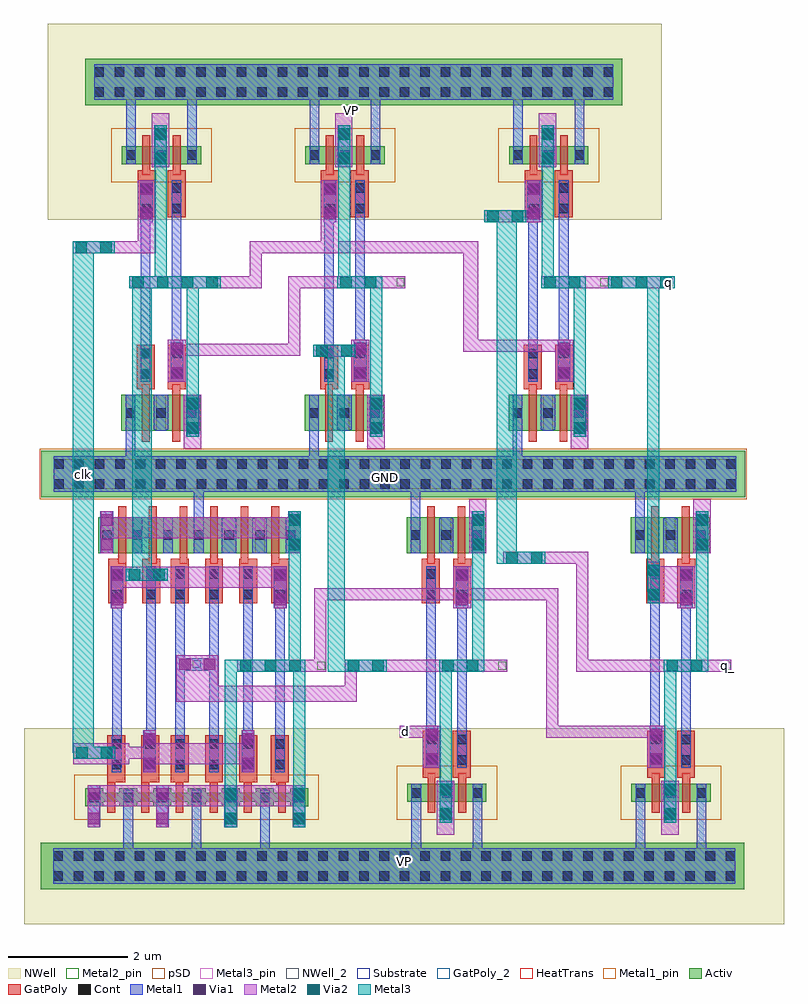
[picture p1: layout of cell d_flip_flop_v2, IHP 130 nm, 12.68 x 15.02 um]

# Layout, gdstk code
from math import pi, radians
import gdstk
lib = gdstk.Library(unit=1e-6, precision=1e-09)
def R(c, l, rs):  # rectangles x0, y0, x1, y1
    for r in rs: c.add(gdstk.rectangle(r[:2], r[2:], *l))
def A(c, l, x, y, w, h, nx, ny, dx, dy):  # array of equal rectangles
    R(c, l, [(x+i*dx, y+j*dy, x+i*dx+w, y+j*dy+h) for i in range(nx) for j in range(ny)])
Activ = (1, 0)
GatPoly = (5, 0)
GatPoly_2 = (5, 2)
Cont = (6, 0)
Metal1 = (8, 0)
Metal1_pin = (8, 2)
Metal2 = (10, 0)
Metal2_pin = (10, 2)
pSD = (14, 0)
Via1 = (19, 0)
Via2 = (29, 0)
Metal3 = (30, 0)
Metal3_pin = (30, 2)
NWell = (31, 0)
NWell_2 = (31, 2)
Substrate = (40, 0)
HeatTrans = (51, 0)

via = lib.new_cell('Via')
R(via, Metal2, [(-0.35,-0.1,0.35,0.1)])
R(via, Via2, [(-0.3,-0.095,-0.11,0.095), (0.11,-0.095,0.3,0.095)])
R(via, Metal3, [(-0.35,-0.1,0.35,0.1)])

ntap1_7 = lib.new_cell('ntap1$7')
R(ntap1_7, Activ, [(0,0,2.5,0.78)])
A(ntap1_7, Cont, 0.15, 0.14, 0.16, 0.16, 7, 2, 0.34, 0.34)
R(ntap1_7, Metal1, [(0.15,0.09,2.35,0.69)])
R(ntap1_7, Metal1_pin, [(0.15,0.09,2.35,0.69), (0.15,0.14,2.35,0.64)])
R(ntap1_7, NWell, [(-0.24,-0.24,2.74,1.02), (0,0,2.5,0.78)])
R(ntap1_7, NWell_2, [(0,0,2.5,0.78)])
ntap1_7.add(gdstk.Label('well', (1.25,0.01), layer=63, texttype=0))
ntap1_7.add(gdstk.Label('well', (1.25,0.01), layer=31, texttype=0))

ptap1_4 = lib.new_cell('ptap1$4')
R(ptap1_4, Activ, [(0,0,2.5,0.78)])
A(ptap1_4, Cont, 0.15, 0.14, 0.16, 0.16, 7, 2, 0.34, 0.34)
R(ptap1_4, Metal1, [(0.15,0.09,2.35,0.69), (0.15,0.14,2.35,0.64)])
R(ptap1_4, Metal1_pin, [(0.15,0.14,2.35,0.64)])
R(ptap1_4, pSD, [(-0.03,-0.03,2.53,0.81)])
R(ptap1_4, Substrate, [(0,0,2.5,0.78)])
ptap1_4.add(gdstk.Label('sub!', (1.25,0.01), layer=63, texttype=0))
ptap1_4.add(gdstk.Label('sub!', (1.25,0.01), layer=40, texttype=0))

via_15 = lib.new_cell('Via$15')
R(via_15, Metal2, [(-0.1,-0.35,0.1,0.35)])
R(via_15, Via2, [(-0.095,-0.3,0.095,-0.11), (-0.095,0.11,0.095,0.3)])
R(via_15, Metal3, [(-0.1,-0.35,0.1,0.35)])

via_1_1 = lib.new_cell('Via$1$1')
R(via_1_1, Metal1, [(-0.105,-0.35,0.105,0.35)])
R(via_1_1, Metal2, [(-0.1,-0.35,0.1,0.35)])
R(via_1_1, Via1, [(-0.095,-0.3,0.095,-0.11), (-0.095,0.11,0.095,0.3)])

via_2_1 = lib.new_cell('Via$2$1')
R(via_2_1, GatPoly, [(-0.32,-0.15,0.32,0.15)])
R(via_2_1, Cont, [(-0.25,-0.08,-0.09,0.08), (0.09,-0.08,0.25,0.08)])
R(via_2_1, Metal1, [(-0.3,-0.08,0.3,0.08)])

pmos_5 = lib.new_cell('pmos$5')
A(pmos_5, Activ, 0, 0, 0.3, 0.3, 3, 1, 0.51, 0)
R(pmos_5, Activ, [(0,0,1.32,0.3)])
R(pmos_5, GatPoly, [(0.34,-0.18,0.47,0.48), (0.34,-0.18,0.47,0.48), (0.85,-0.18,0.98,0.48)])
A(pmos_5, Cont, 0.07, 0.07, 0.16, 0.16, 3, 1, 0.51, 0)
R(pmos_5, Metal1, [(0.07,0,0.23,0.3), (0.07,0,0.23,0.3), (0.58,0,0.74,0.3), (0.58,0,0.74,0.3), (1.09,0,1.25,0.3)])
R(pmos_5, pSD, [(-0.18,-0.3,1.5,0.6)])
R(pmos_5, NWell, [(-0.31,-0.31,1.63,0.61)])
R(pmos_5, HeatTrans, [(0.34,-0.18,0.47,0.48), (0.85,-0.18,0.98,0.48)])
pmos_5.add(gdstk.Label('pmos', (0.405,0.15), layer=63, texttype=0))
pmos_5.add(gdstk.Label('pmos', (0.405,0.15), layer=51, texttype=0))
pmos_5.add(gdstk.Label('pmos', (0.915,0.15), layer=51, texttype=0))

nmos_5 = lib.new_cell('nmos$5')
A(nmos_5, Activ, 0, 0, 0.3, 0.3, 3, 1, 0.51, 0)
R(nmos_5, Activ, [(0,0,1.32,0.6)])
R(nmos_5, GatPoly, [(0.34,-0.18,0.47,0.78), (0.85,-0.18,0.98,0.78)])
R(nmos_5, GatPoly_2, [(0.34,-0.18,0.47,0.78)])
A(nmos_5, Cont, 0.07, 0.22, 0.16, 0.16, 3, 1, 0.51, 0)
A(nmos_5, Metal1, 0.07, 0, 0.16, 0.6, 3, 1, 0.51, 0)
R(nmos_5, Metal1_pin, [(0.07,0,0.23,0.6), (0.58,0,0.74,0.6)])
R(nmos_5, HeatTrans, [(0.34,-0.18,0.47,0.78), (0.85,-0.18,0.98,0.78)])
nmos_5.add(gdstk.Label('nmos', (0.405,0.3), layer=63, texttype=0))
nmos_5.add(gdstk.Label('nmos', (0.405,0.3), layer=51, texttype=0))
nmos_5.add(gdstk.Label('nmos', (0.915,0.3), layer=51, texttype=0))

nand_2in_nmosx2_3 = lib.new_cell('NAND_2in_nmosx2$3')
R(nand_2in_nmosx2_3, GatPoly, [(0.63,-2.93,0.93,-2.82), (1.15,-2.93,1.45,-2.82), (0.645,0.58,0.945,0.73), (1.145,0.58,1.445,0.73), (0.725,0.68,0.855,0.77)])
R(nand_2in_nmosx2_3, Metal1, [(0.445,-4.32,0.605,-3.295), (0.915,-3.6,1.155,-3.34), (0.915,-3.36,1.155,-3.02), (0.7,-2.68,0.86,0.26), (1.215,-2.21,1.375,-1.27), (1.215,-1.31,1.375,-0.37), (1.215,-0.37,1.375,-0.01), (0.455,1.01,0.615,1.15), (0.455,1.115,0.615,1.99), (1.475,1.115,1.635,1.94)])
R(nand_2in_nmosx2_3, Metal1_pin, [(0.44,-4.32,0.57,-4.19), (0.4,2.15,0.53,2.28)])
R(nand_2in_nmosx2_3, Metal2, [(1.415,-3.92,1.705,-3.72), (1.415,-3.72,1.705,-3.02), (1.15,-2.8,1.45,-2.1), (1.62,-1.24,2.05,-1.04), (0.645,-0.14,0.945,0.56), (0.88,0.78,1.17,0.98), (0.88,0.98,1.17,1.68)])
R(nand_2in_nmosx2_3, Metal2_pin, [(1.24,-2.27,1.37,-2.14), (1.905,-1.205,2.035,-1.075), (0.735,-0.1,0.865,0.03)])
R(nand_2in_nmosx2_3, Metal3, [(1.465,-3.03,1.665,-2.83), (1.465,-2.905,1.665,-1.045), (0.93,-1.09,1.13,0.17), (0.93,0.1,1.13,0.62), (0.93,0.62,1.13,0.72), (0.93,0.71,1.13,0.87)])
R(nand_2in_nmosx2_3, NWell, [(-0.85,-0.1,2.93,3.17)])
nand_2in_nmosx2_3.add(gdstk.Reference(ntap1_7, (-0.23,1.81)))
nand_2in_nmosx2_3.add(gdstk.Reference(ptap1_4, (-0.22,-4.73)))
nand_2in_nmosx2_3.add(gdstk.Reference(via_15, (1.27,-1.14), rotation=3*pi/2))
nand_2in_nmosx2_3.add(gdstk.Reference(via_1_1, (1.565,-3.37), rotation=pi))
nand_2in_nmosx2_3.add(gdstk.Reference(via_1_1, (1.3,-2.45), rotation=pi))
nand_2in_nmosx2_3.add(gdstk.Reference(via_1_1, (0.795,0.21), rotation=pi))
nand_2in_nmosx2_3.add(gdstk.Reference(via_1_1, (1.03,1.13), rotation=pi))
nand_2in_nmosx2_3.add(gdstk.Reference(via_2_1, (1.3,-2.5), rotation=3*pi/2))
nand_2in_nmosx2_3.add(gdstk.Reference(via_2_1, (0.795,0.26), rotation=3*pi/2))
nand_2in_nmosx2_3.add(gdstk.Reference(via_2_1, (1.295,0.26), rotation=3*pi/2))
nand_2in_nmosx2_3.add(gdstk.Reference(via_15, (1.565,-3.37), rotation=pi))
nand_2in_nmosx2_3.add(gdstk.Reference(via_15, (1.03,1.13), rotation=pi))
nand_2in_nmosx2_3.add(gdstk.Reference(pmos_5, (1.705,1.13), rotation=pi))
nand_2in_nmosx2_3.add(gdstk.Reference(via_2_1, (0.78,-2.5), rotation=3*pi/2))
nand_2in_nmosx2_3.add(gdstk.Reference(nmos_5, (1.695,-3.02), rotation=pi))
nand_2in_nmosx2_3.add(gdstk.Label('GND', (0.505,-4.25), layer=8, texttype=25))
nand_2in_nmosx2_3.add(gdstk.Label('VP', (0.46,2.21), layer=8, texttype=25))
nand_2in_nmosx2_3.add(gdstk.Label('b', (0.795,-0.04), layer=10, texttype=25))
nand_2in_nmosx2_3.add(gdstk.Label('a', (1.3,-2.21), layer=10, texttype=25))
nand_2in_nmosx2_3.add(gdstk.Label('y', (1.97,-1.14), layer=10, texttype=25))

ntap1_3 = lib.new_cell('ntap1$3')
R(ntap1_3, Activ, [(0,0,1.8,0.78)])
A(ntap1_3, Cont, 0.14, 0.14, 0.16, 0.16, 5, 2, 0.34, 0.34)
R(ntap1_3, Metal1, [(0.14,0.09,1.66,0.69)])
R(ntap1_3, Metal1_pin, [(0.14,0.09,1.66,0.69), (0.14,0.14,1.66,0.64)])
R(ntap1_3, NWell, [(-0.24,-0.24,2.04,1.02), (0,0,1.8,0.78)])
R(ntap1_3, NWell_2, [(0,0,1.8,0.78)])
ntap1_3.add(gdstk.Label('well', (0.9,0.01), layer=63, texttype=0))
ntap1_3.add(gdstk.Label('well', (0.9,0.01), layer=31, texttype=0))

via_12 = lib.new_cell('Via$12')
R(via_12, Metal2, [(-0.555,-0.1,0.555,0.1)])
A(via_12, Via2, -0.505, -0.095, 0.19, 0.19, 3, 1, 0.41, 0)
R(via_12, Metal3, [(-0.555,-0.1,0.555,0.1)])

via_8 = lib.new_cell('Via$8')
R(via_8, Metal2, [(-0.1,-0.35,0.1,0.35)])
R(via_8, Via2, [(-0.095,-0.3,0.095,-0.11), (-0.095,0.11,0.095,0.3)])
R(via_8, Metal3, [(-0.1,-0.35,0.1,0.35)])

via_13 = lib.new_cell('Via$13')
R(via_13, Metal2, [(-0.76,-0.1,0.76,0.1)])
A(via_13, Via2, -0.71, -0.095, 0.19, 0.19, 4, 1, 0.41, 0)
R(via_13, Metal3, [(-0.76,-0.1,0.76,0.1)])

ntap1 = lib.new_cell('ntap1')
R(ntap1, Activ, [(0,0,2.1,0.78)])
A(ntap1, Cont, 0.12, 0.14, 0.16, 0.16, 6, 2, 0.34, 0.34)
R(ntap1, Metal1, [(0.12,0.09,1.98,0.69)])
R(ntap1, Metal1_pin, [(0.12,0.09,1.98,0.69), (0.12,0.14,1.98,0.64)])
R(ntap1, NWell, [(-0.24,-0.24,2.34,1.02), (0,0,2.1,0.78)])
R(ntap1, NWell_2, [(0,0,2.1,0.78)])
ntap1.add(gdstk.Label('well', (1.05,0.01), layer=63, texttype=0))
ntap1.add(gdstk.Label('well', (1.05,0.01), layer=31, texttype=0))

via_16 = lib.new_cell('Via$16')
R(via_16, Metal1, [(-0.105,-0.35,0.105,0.35)])
R(via_16, Metal2, [(-0.1,-0.35,0.1,0.35)])
R(via_16, Via1, [(-0.095,-0.3,0.095,-0.11), (-0.095,0.11,0.095,0.3)])

via_1_2 = lib.new_cell('Via$1$2')
R(via_1_2, Metal2, [(-0.1,-0.555,0.1,0.555)])
A(via_1_2, Via2, -0.095, -0.505, 0.19, 0.19, 1, 3, 0, 0.41)
R(via_1_2, Metal3, [(-0.1,-0.555,0.1,0.555)])

nmos = lib.new_cell('nmos')
A(nmos, Activ, 0, 0, 0.3, 0.3, 7, 1, 0.51, 0)
R(nmos, Activ, [(0,0,3.36,0.6)])
A(nmos, GatPoly, 0.34, -0.18, 0.13, 0.96, 6, 1, 0.51, 0)
R(nmos, GatPoly_2, [(0.34,-0.18,0.47,0.78)])
A(nmos, Cont, 0.07, 0.22, 0.16, 0.16, 7, 1, 0.51, 0)
A(nmos, Metal1, 0.07, 0, 0.16, 0.6, 7, 1, 0.51, 0)
R(nmos, Metal1_pin, [(0.07,0,0.23,0.6), (0.58,0,0.74,0.6)])
A(nmos, HeatTrans, 0.34, -0.18, 0.13, 0.96, 6, 1, 0.51, 0)
nmos.add(gdstk.Label('nmos', (0.405,0.3), layer=63, texttype=0))
nmos.add(gdstk.Label('nmos', (0.405,0.3), layer=51, texttype=0))
nmos.add(gdstk.Label('nmos', (0.915,0.3), layer=51, texttype=0))
nmos.add(gdstk.Label('nmos', (1.425,0.3), layer=51, texttype=0))
nmos.add(gdstk.Label('nmos', (1.935,0.3), layer=51, texttype=0))
nmos.add(gdstk.Label('nmos', (2.445,0.3), layer=51, texttype=0))
nmos.add(gdstk.Label('nmos', (2.955,0.3), layer=51, texttype=0))

ntap1_5 = lib.new_cell('ntap1$5')
R(ntap1_5, Activ, [(0,0,5,0.78)])
A(ntap1_5, Cont, 0.21, 0.14, 0.16, 0.16, 14, 2, 0.34, 0.34)
R(ntap1_5, Metal1, [(0.21,0.09,4.79,0.69)])
R(ntap1_5, Metal1_pin, [(0.21,0.09,4.79,0.69), (0.21,0.14,4.79,0.64)])
R(ntap1_5, NWell, [(-0.24,-0.24,5.24,1.02), (0,0,5,0.78)])
R(ntap1_5, NWell_2, [(0,0,5,0.78)])
ntap1_5.add(gdstk.Label('well', (2.5,0.01), layer=63, texttype=0))
ntap1_5.add(gdstk.Label('well', (2.5,0.01), layer=31, texttype=0))

ptap1 = lib.new_cell('ptap1')
R(ptap1, Activ, [(0,0,5,0.78)])
A(ptap1, Cont, 0.21, 0.14, 0.16, 0.16, 14, 2, 0.34, 0.34)
R(ptap1, Metal1, [(0.21,0.09,4.79,0.69), (0.21,0.14,4.79,0.64)])
R(ptap1, Metal1_pin, [(0.21,0.14,4.79,0.64)])
R(ptap1, pSD, [(-0.03,-0.03,5.03,0.81)])
R(ptap1, Substrate, [(0,0,5,0.78)])
ptap1.add(gdstk.Label('sub!', (2.5,0.01), layer=63, texttype=0))
ptap1.add(gdstk.Label('sub!', (2.5,0.01), layer=40, texttype=0))

via_2_2 = lib.new_cell('Via$2$2')
R(via_2_2, Metal2, [(-0.1,-0.35,0.1,0.35)])
R(via_2_2, Via2, [(-0.095,-0.3,0.095,-0.11), (-0.095,0.11,0.095,0.3)])
R(via_2_2, Metal3, [(-0.1,-0.35,0.1,0.35)])

via_3_1 = lib.new_cell('Via$3$1')
R(via_3_1, GatPoly, [(-0.32,-0.15,0.32,0.15)])
R(via_3_1, Cont, [(-0.25,-0.08,-0.09,0.08), (0.09,-0.08,0.25,0.08)])
R(via_3_1, Metal1, [(-0.3,-0.08,0.3,0.08)])

pmos = lib.new_cell('pmos')
A(pmos, Activ, 0, 0, 0.3, 0.3, 7, 1, 0.57, 0)
R(pmos, Activ, [(0,0.075,3.72,0.225)])
A(pmos, GatPoly, 0.37, -0.105, 0.13, 0.51, 6, 1, 0.57, 0)
R(pmos, GatPoly, [(0.37,-0.105,0.5,0.405)])
A(pmos, Cont, 0.07, 0.07, 0.16, 0.16, 7, 1, 0.57, 0)
A(pmos, Metal1, 0.64, 0.02, 0.16, 0.26, 6, 1, 0.57, 0)
R(pmos, Metal1, [(0.07,0.02,0.23,0.28), (0.07,0.02,0.23,0.28), (0.64,0.02,0.8,0.28)])
R(pmos, pSD, [(-0.18,-0.225,3.9,0.525)])
R(pmos, NWell, [(-0.31,-0.31,4.03,0.61)])
A(pmos, HeatTrans, 0.37, -0.105, 0.13, 0.51, 6, 1, 0.57, 0)
pmos.add(gdstk.Label('pmos', (0.435,0.15), layer=63, texttype=0))
pmos.add(gdstk.Label('pmos', (0.435,0.15), layer=51, texttype=0))
pmos.add(gdstk.Label('pmos', (1.005,0.15), layer=51, texttype=0))
pmos.add(gdstk.Label('pmos', (1.575,0.15), layer=51, texttype=0))
pmos.add(gdstk.Label('pmos', (2.145,0.15), layer=51, texttype=0))
pmos.add(gdstk.Label('pmos', (2.715,0.15), layer=51, texttype=0))
pmos.add(gdstk.Label('pmos', (3.285,0.15), layer=51, texttype=0))

nand_3in_nmosx3 = lib.new_cell('NAND_3in_nmosx3')
A(nand_3in_nmosx3, GatPoly, -0.54, -2.93, 0.3, 0.11, 3, 1, 0.57, 0)
A(nand_3in_nmosx3, GatPoly, -0.54, 0.655, 0.3, 0.15, 3, 1, 0.57, 0)
R(nand_3in_nmosx3, GatPoly, [(-1.585,-2.93,-1.285,-2.82), (-1.02,-2.93,-0.72,-2.82), (1.135,-2.93,1.435,-2.82), (-1.6,0.655,-1.3,0.805), (-1.035,0.655,-0.735,0.805), (1.13,0.655,1.43,0.805), (0.68,0.755,0.81,0.845), (1.22,0.755,1.35,0.845)])
R(nand_3in_nmosx3, Metal1, [(-0.155,-4.075,0.005,-3.295), (0.31,-3.6,0.55,-3.34), (0.82,-3.6,1.06,-3.34), (0.31,-3.36,0.55,-3.02), (0.82,-3.36,1.06,-3.02), (-1.515,-2.44,-1.355,0.56), (-0.95,-2.44,-0.79,0.05), (0.67,-2.44,0.83,0.05), (-0.47,-2.38,-0.31,0.175), (0.1,-2.38,0.26,0.245), (1.2,-2.21,1.36,-1.27), (1.2,-1.31,1.36,-0.37), (1.2,-0.455,1.36,0.075), (0.95,1.005,1.11,2.015), (-1.33,1.07,-1.17,2.065), (-0.19,1.075,-0.03,2.065)])
R(nand_3in_nmosx3, Metal1_pin, [(0.44,-4.33,0.57,-4.2), (0.74,2.225,0.87,2.355)])
R(nand_3in_nmosx3, Metal2, [(-1.685,-3.62,1.605,-3.27), (-1.475,-2.795,1.395,-2.445), (-0.45,-1.315,0.25,-1.015), (1.62,-1.24,2.05,-1.04), (-0.895,0.155,0.83,0.505), (-1.925,0.855,1.7,1.205)])
R(nand_3in_nmosx3, Metal2_pin, [(-1.495,-2.31,-1.365,-2.18), (1.225,-2.31,1.355,-2.18), (-0.175,-1.235,-0.045,-1.105), (1.905,-1.205,2.035,-1.075), (-0.955,0.005,-0.825,0.135), (-0.955,0.005,-0.825,0.135), (0.69,0.005,0.82,0.135), (0.69,0.005,0.82,0.135)])
R(nand_3in_nmosx3, Metal3, [(1.425,-3.03,1.625,-2.83), (1.425,-2.83,1.625,-2.425), (1.425,-2.5,1.625,-1.15), (0.36,-1.24,0.56,-0.97), (0.38,-1.24,0.565,-1.04), (1.66,-1.24,1.7,-1.09), (1.5,-1.09,1.7,0.17), (0.36,-0.97,0.56,0.26), (1.5,0.045,1.7,1.02), (0.36,0.155,0.56,0.855)])
R(nand_3in_nmosx3, NWell, [(-2.99,-0.1,2.93,3.17)])
nand_3in_nmosx3.add(gdstk.Reference(via_16, (1.285,-2.45), rotation=pi))
nand_3in_nmosx3.add(gdstk.Reference(via_16, (0.75,0.285), rotation=pi))
nand_3in_nmosx3.add(gdstk.Reference(via_16, (0.46,1.205), rotation=pi))
nand_3in_nmosx3.add(gdstk.Reference(via_16, (1.6,1.205), rotation=pi))
nand_3in_nmosx3.add(gdstk.Reference(via_1_2, (1.12,-1.14), rotation=3*pi/2))
nand_3in_nmosx3.add(gdstk.Reference(nmos, (1.605,-3.02), rotation=pi))
nand_3in_nmosx3.add(gdstk.Reference(ntap1_5, (-2.71,1.81)))
nand_3in_nmosx3.add(gdstk.Reference(ptap1, (-2.7,-4.73)))
nand_3in_nmosx3.add(gdstk.Reference(via_2_2, (1.525,-3.37), rotation=pi))
nand_3in_nmosx3.add(gdstk.Reference(via_2_2, (0.46,1.205), rotation=pi))
nand_3in_nmosx3.add(gdstk.Reference(via_2_2, (1.6,1.205), rotation=pi))
nand_3in_nmosx3.add(gdstk.Reference(via_3_1, (0.75,-2.5), rotation=3*pi/2))
nand_3in_nmosx3.add(gdstk.Reference(via_3_1, (1.285,-2.5), rotation=3*pi/2))
nand_3in_nmosx3.add(gdstk.Reference(via_3_1, (0.75,0.335), rotation=3*pi/2))
nand_3in_nmosx3.add(gdstk.Reference(via_3_1, (1.28,0.335), rotation=3*pi/2))
nand_3in_nmosx3.add(gdstk.Reference(pmos, (1.75,1.205), rotation=pi))
nand_3in_nmosx3.add(gdstk.Reference(via_3_1, (0.18,0.335), rotation=3*pi/2))
nand_3in_nmosx3.add(gdstk.Reference(via_3_1, (0.18,-2.5), rotation=3*pi/2))
nand_3in_nmosx3.add(gdstk.Reference(via_3_1, (-0.39,0.335), rotation=3*pi/2))
nand_3in_nmosx3.add(gdstk.Reference(via_3_1, (-0.39,-2.5), rotation=3*pi/2))
nand_3in_nmosx3.add(gdstk.Reference(via_16, (-0.1,-1.165), rotation=3*pi/2))
nand_3in_nmosx3.add(gdstk.Reference(via_16, (-0.68,1.205), rotation=pi))
nand_3in_nmosx3.add(gdstk.Reference(via_16, (-1.825,1.205), rotation=pi))
nand_3in_nmosx3.add(gdstk.Reference(via_16, (0.75,0.285), rotation=pi))
nand_3in_nmosx3.add(gdstk.Reference(via_3_1, (0.75,0.335), rotation=3*pi/2))
nand_3in_nmosx3.add(gdstk.Reference(via_3_1, (-0.885,0.335), rotation=3*pi/2))
nand_3in_nmosx3.add(gdstk.Reference(via_16, (-0.895,0.285), rotation=pi))
nand_3in_nmosx3.add(gdstk.Reference(via_3_1, (-0.885,0.335), rotation=3*pi/2))
nand_3in_nmosx3.add(gdstk.Reference(via_16, (-0.895,0.285), rotation=pi))
nand_3in_nmosx3.add(gdstk.Reference(via_3_1, (-0.87,-2.5), rotation=3*pi/2))
nand_3in_nmosx3.add(gdstk.Reference(via_16, (-1.435,-2.45), rotation=pi))
nand_3in_nmosx3.add(gdstk.Reference(via_3_1, (-1.435,-2.5), rotation=3*pi/2))
nand_3in_nmosx3.add(gdstk.Reference(via_3_1, (-1.45,0.335), rotation=3*pi/2))
nand_3in_nmosx3.add(gdstk.Reference(via_16, (-1.61,-3.37), rotation=pi))
nand_3in_nmosx3.add(gdstk.Reference(via_16, (1.525,-3.37), rotation=pi))
nand_3in_nmosx3.add(gdstk.Label('GND', (0.505,-4.26), layer=8, texttype=25))
nand_3in_nmosx3.add(gdstk.Label('VP', (0.8,2.285), layer=8, texttype=25))
nand_3in_nmosx3.add(gdstk.Label('a', (-1.435,-2.25), layer=10, texttype=25))
nand_3in_nmosx3.add(gdstk.Label('a', (1.285,-2.25), layer=10, texttype=25))
nand_3in_nmosx3.add(gdstk.Label('b', (0.76,0.095), layer=10, texttype=25))
nand_3in_nmosx3.add(gdstk.Label('b', (-0.885,0.095), layer=10, texttype=25))
nand_3in_nmosx3.add(gdstk.Label('b', (-0.885,0.095), layer=10, texttype=25))
nand_3in_nmosx3.add(gdstk.Label('b', (0.76,0.095), layer=10, texttype=25))
nand_3in_nmosx3.add(gdstk.Label('c', (-0.11,-1.175), layer=10, texttype=25))
nand_3in_nmosx3.add(gdstk.Label('y', (1.97,-1.14), layer=10, texttype=25))

ntap1_4 = lib.new_cell('ntap1$4')
R(ntap1_4, Activ, [(0,0,1.5,0.78)])
A(ntap1_4, Cont, 0.16, 0.14, 0.16, 0.16, 4, 2, 0.34, 0.34)
R(ntap1_4, Metal1, [(0.16,0.09,1.34,0.69)])
R(ntap1_4, Metal1_pin, [(0.16,0.09,1.34,0.69), (0.16,0.14,1.34,0.64)])
R(ntap1_4, NWell, [(-0.24,-0.24,1.74,1.02), (0,0,1.5,0.78)])
R(ntap1_4, NWell_2, [(0,0,1.5,0.78)])
ntap1_4.add(gdstk.Label('well', (0.75,0.01), layer=63, texttype=0))
ntap1_4.add(gdstk.Label('well', (0.75,0.01), layer=31, texttype=0))

d_flip_flop_v2 = lib.new_cell('d_flip_flop_v2')
R(d_flip_flop_v2, Metal1_pin, [(5.655,-5.04,5.785,-4.91), (5.345,1.37,5.475,1.5), (4.785,7.96,4.915,8.09)])
R(d_flip_flop_v2, Metal2, [(0.2,-3.355,1.135,-3.005), (0.2,-3.26,1.64,-3.06), (1.64,-3.26,2.31,-3.06), (5.65,-2.91,6.23,-2.71), (8.09,-2.91,9.87,-2.71), (8.09,-2.81,8.29,-2.31), (1.92,-2.31,2.62,-1.785), (1.965,-2.31,4.93,-2.04), (8.09,-2.31,8.29,-1.39), (4.73,-2.13,4.935,-1.73), (3.71,-1.81,4.29,-1.61), (4.22,-1.81,4.42,-1.39), (4.73,-1.81,5.02,-1.61), (5.02,-1.81,6.37,-1.61), (8.59,-1.81,8.79,-0.89), (8.62,-1.81,10.06,-1.61), (4.22,-1.39,4.42,-0.43), (8.09,-1.39,8.29,-0.49), (8.59,-0.89,8.79,0.19), (9.805,-0.67,10.325,-0.05), (4.22,-0.62,4.5,-0.42), (4.42,-0.62,5,-0.42), (5,-0.62,6.61,-0.42), (6.51,-0.62,8.29,-0.42), (7.59,-0.01,8.62,0.19), (1.79,3.46,3.17,3.66), (3.17,3.46,3.99,3.66), (3.79,3.53,3.99,4.17), (6.71,3.53,6.96,5.17), (6.71,3.53,8.4,3.73), (3.79,4.17,3.99,4.59), (2.465,4.59,3.35,4.79), (3.79,4.59,4.61,4.79), (9.14,4.59,10.17,4.79), (3.15,4.79,3.35,5.21), (0.47,5.17,0.95,5.37), (0.61,5.17,1.48,5.37), (1.275,5.17,1.575,5.19), (3.15,5.17,3.67,5.37), (3.67,5.17,4.54,5.37), (4.22,5.17,6.21,5.37), (6.21,5.17,6.96,5.37), (1.275,5.19,1.575,5.69), (4.335,5.29,4.635,5.69)])
R(d_flip_flop_v2, Metal2_pin, [(5.675,-2.88,5.805,-2.75), (11.045,-1.775,11.175,-1.645), (10.075,4.625,10.205,4.755)])
R(d_flip_flop_v2, Metal3, [(0.19,-3.16,0.54,5.27), (4.45,-1.81,4.73,2.56), (9.78,-0.47,9.98,3.76), (1.19,-0.29,1.51,3.6), (7.265,-0.01,7.6,5.82), (4.45,2.56,4.73,3.49), (1.19,3.6,1.51,4.69), (9.775,3.76,9.98,4.69)])
R(d_flip_flop_v2, Metal3_pin, [(0.31,1.42,0.44,1.55)])
d_flip_flop_v2.add(gdstk.Reference(via, (1.43,-0.19), rotation=pi))
d_flip_flop_v2.add(gdstk.Reference(nand_2in_nmosx2_3, (7.09,5.83)))
d_flip_flop_v2.add(gdstk.Reference(nand_2in_nmosx2_3, (0.63,5.83)))
d_flip_flop_v2.add(gdstk.Reference(ntap1_3, (2.45,7.64)))
d_flip_flop_v2.add(gdstk.Reference(ntap1_3, (5.51,7.64)))
d_flip_flop_v2.add(gdstk.Reference(via, (0.55,-3.16), rotation=pi))
d_flip_flop_v2.add(gdstk.Reference(via, (0.54,5.27), rotation=pi))
d_flip_flop_v2.add(gdstk.Reference(via_12, (9.68,4.69), rotation=pi))
d_flip_flop_v2.add(gdstk.Reference(via_8, (9.89,-0.32), rotation=pi))
d_flip_flop_v2.add(gdstk.Reference(via_13, (1.9,4.69), rotation=pi))
d_flip_flop_v2.add(gdstk.Reference(via, (7.73,0.09), rotation=pi))
d_flip_flop_v2.add(gdstk.Reference(via, (7.41,5.79), rotation=pi))
d_flip_flop_v2.add(gdstk.Reference(via, (5.08,-1.71), rotation=pi))
d_flip_flop_v2.add(gdstk.Reference(via, (4.56,3.55), rotation=pi))
d_flip_flop_v2.add(gdstk.Reference(ntap1, (7.23,-5.44)))
d_flip_flop_v2.add(gdstk.Reference(nand_2in_nmosx2_3, (3.69,5.83)))
d_flip_flop_v2.add(gdstk.Reference(nand_2in_nmosx2_3, (9.13,-2.85), x_reflection=True))
d_flip_flop_v2.add(gdstk.Reference(nand_3in_nmosx3, (2.37,-2.85), x_reflection=True))
d_flip_flop_v2.add(gdstk.Reference(nand_2in_nmosx2_3, (5.39,-2.85), x_reflection=True))
d_flip_flop_v2.add(gdstk.Reference(ntap1_4, (4.13,-5.44)))
d_flip_flop_v2.add(gdstk.Label('VP', (5.72,-4.98), layer=8, texttype=25))
d_flip_flop_v2.add(gdstk.Label('GND', (5.41,1.43), layer=8, texttype=25))
d_flip_flop_v2.add(gdstk.Label('VP', (4.85,7.56), layer=8, texttype=25))
d_flip_flop_v2.add(gdstk.Label('d', (5.74,-2.81), layer=10, texttype=25))
d_flip_flop_v2.add(gdstk.Label('q_', (11.11,-1.71), layer=10, texttype=25))
d_flip_flop_v2.add(gdstk.Label('q', (10.14,4.69), layer=10, texttype=25))
d_flip_flop_v2.add(gdstk.Label('clk', (0.375,1.48), layer=30, texttype=25))

lib.write_gds('d_flip_flop_v2.gds')
